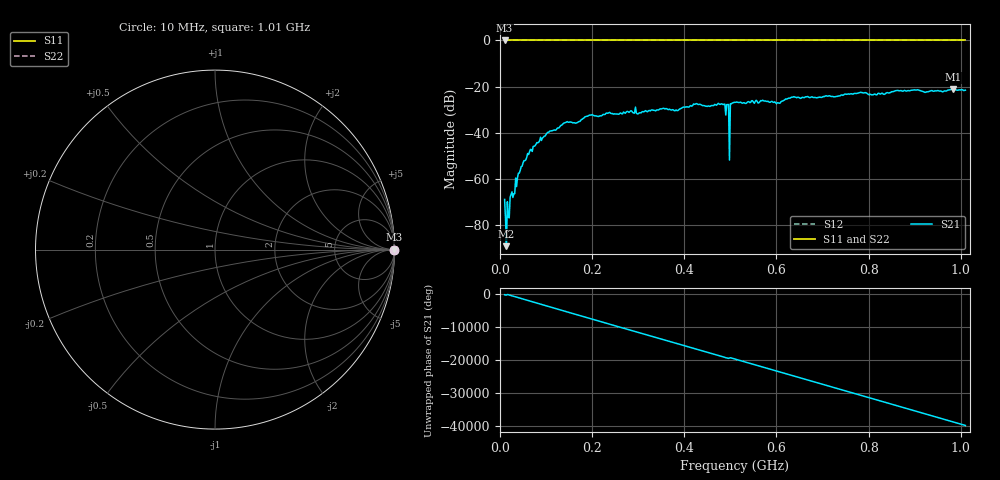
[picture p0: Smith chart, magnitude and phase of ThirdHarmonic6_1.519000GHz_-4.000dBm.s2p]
! 8/16/2025 5:55:15 PM
! C:\ANRITSUVNA\TEMP\TEMP.S2P
! CHANNEL.1
! TR.MEASUREMENT
! RAW.DATA
! RF.CORRECTION.OFF
! AVERAGING.OFF
! IF.BANDWIDTH: 5KHZ
! SWEEPTYPE:  FREQ.SWEEP(Linear)
! Reference Plane Port Info
! PORT:  PORT1  PORT2
! DISTANCE:  0  m  0  m
! TIME:  0  s  0  s
! PHASE.OFFSET:  0  deg.  0  deg.
! LOSS:  0  dB  0  dB
! REF.LOSS:  0  dB  0  dB
! REF.FREQ:  0  Hz  0  Hz
! Power Info
! POWER:  -20  dBm  -20  dBm
! EFF.POWER:  -20  dBm  -20  dBm
! SOURCE.ATTEN:  0  dB  0  dB
! TEST.ATTEN:  0  dB  0  dB
# GHZ S RI R 50.0
! FREQ.GHZ  S11RE  S11IM  S21RE  S21IM  S12RE  S12IM  S22RE  S22IM
!; PortSelection: Port_12
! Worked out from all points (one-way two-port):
!   501 points, 10 MHz to 1.01 GHz, reference 50 ohm
!   highest |S21| = -21.14 dB at 984 MHz (marker M1); lowest = -89.0 dB at 14 MHz (marker M2)
!   lowest |S11| = 0.0 dB at 10 MHz (marker M3)
!   |S11| at or under -10 dB: nowhere
!   |S22| runs from 0.0 to 0.0 dB; largest |S21 - S12| = 1.1
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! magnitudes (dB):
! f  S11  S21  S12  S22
! 10 MHz  0.0  -68.8  0.0  0.0
! 14 MHz  0.0  -89.0  0.0  0.0
! 16 MHz  0.0  -69.8  0.0  0.0
! 26 MHz  0.0  -65.5  0.0  0.0
! 32 MHz  0.0  -66.3  0.0  0.0
! 42 MHz  0.0  -57.4  0.0  0.0
! 64 MHz  0.0  -48.2  0.0  0.0
! 106 MHz  0.0  -39.7  0.0  0.0
! 178 MHz  0.0  -34.1  0.0  0.0
! 344 MHz  0.0  -30.1  0.0  0.0
! 484 MHz  0.0  -27.8  0.0  0.0
! 492 MHz  0.0  -27.7  0.0  0.0
! 494 MHz  0.0  -27.7  0.0  0.0
! 502 MHz  0.0  -27.4  0.0  0.0
! 504 MHz  0.0  -27.1  0.0  0.0
! 510 MHz  0.0  -26.8  0.0  0.0
! 604 MHz  0.0  -27.0  0.0  0.0
! 636 MHz  0.0  -24.5  0.0  0.0
! 678 MHz  0.0  -24.4  0.0  0.0
! 844 MHz  0.0  -22.8  0.0  0.0
! 984 MHz  0.0  -21.1  0.0  0.0
! 1.01 GHz  0.0  -21.5  0.0  0.0
